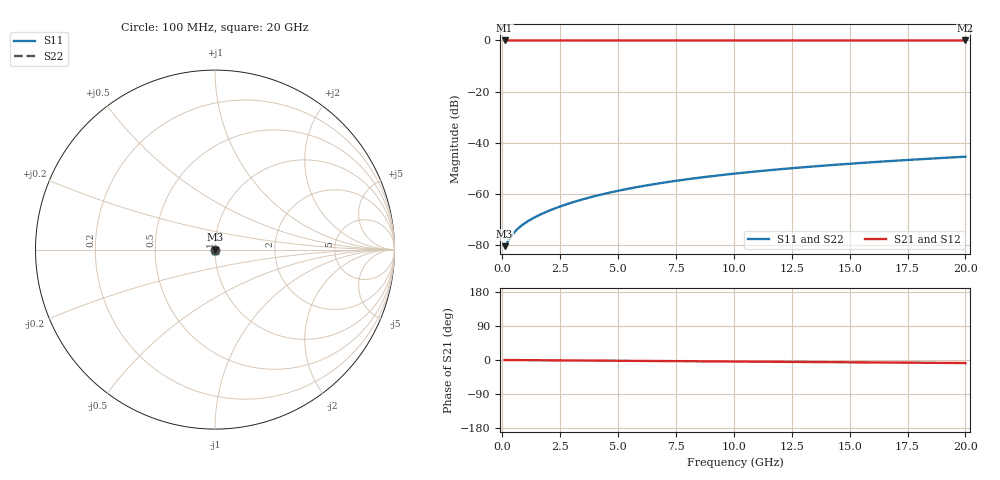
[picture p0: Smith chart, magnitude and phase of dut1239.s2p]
! Touchstone file exported from HFSS 2026.1.0
!  File:  C:/ffzhzh/LocalFiles/Ansys_Project_Files/temp_train_TSV_1239_1783193441_22436.aedt
!  Generated:  03:32:01 AM Jul  5, 2026
!  Design:  TSV
!  Project:  temp_train_TSV_1239_1783193441_22436
! Variables:
!  h_bsmrdl = 2um
!  h_ox = 20um
!  h_rdl = 5um
!  h_sub = 79.67um
!  h_tmrdl = 5um
!  h_tsv = 79.67um
!  h_via = 3um
!  l_bsmrdl = 300um
!  l_sub = 424.56um
!  l_tmrdl = 200um
!  m_sub = 200um
!  pitch = 47.37um
!  r_tsv = 12.28um
!  s_tmrdl = 10um
!  w_bsmrdl = 18um
!  w_sub = 500um
!  w_tmrdl = 12um
!  x_tsv_center1 = 206um
!  x_tsv_center2 = 524um
!  x_tsv_center3 = 736um
!  x_tsv_center4 = 1054um
!  x_tsv_center5 = 1266um
!  x_tsv_center6 = 1584um
# GHz S MA R 50.000000
! Terminal data exported
! Port[1] = TSV1_1_T1
! Port[2] = TSV1_1_T2
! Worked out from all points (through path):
!   200 points, 100 MHz to 20 GHz, reference 50 ohm
!   highest |S21| = 0.00 dB at 100 MHz (marker M1); lowest = 0.0 dB at 20 GHz (marker M2)
!   group delay of S21, straight-line fit = 1.11 ps
!   lowest |S11| = -80.4 dB at 100 MHz (marker M3), VSWR 1.00, Z = 50 + j0.00155 ohm
!   |S11| at or under -10 dB: start of sweep to end of sweep
!   |S22| runs from -80.4 to -45.4 dB; largest |S21 - S12| = 3.6e-15
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0.1  9.532e-05 9.4  0.9999 -0.0  0.9999 -0.0  9.532e-05 9.4
! Gamma 0 0 0 0
! Port Impedance 50 0 50 0
0.2  0.0001102 14.6  0.9999 -0.1  0.9999 -0.1  0.0001102 14.6
0.4  0.0001516 13.5  0.9999 -0.2  0.9999 -0.2  0.0001516 13.5
0.5  0.0001733 10.0  0.9998 -0.2  0.9998 -0.2  0.0001733 10.0
0.6  0.0001945 5.7  0.9998 -0.3  0.9998 -0.3  0.0001945 5.7
0.7  0.0002151 1.1  0.9998 -0.3  0.9998 -0.3  0.0002151 1.1
0.9  0.0002544 -7.7  0.9997 -0.4  0.9997 -0.4  0.0002544 -7.7
1.2  0.0003113 -19.0  0.9997 -0.5  0.9997 -0.5  0.0003113 -19.0
1.7  0.0004066 -32.7  0.9997 -0.7  0.9997 -0.7  0.0004066 -32.7
2.2  0.0005064 -42.0  0.9996 -0.9  0.9996 -0.9  0.0005064 -42.0
2.8  0.0006333 -49.4  0.9996 -1.1  0.9996 -1.1  0.0006334 -49.4
3.5  0.0007904 -55.3  0.9995 -1.4  0.9995 -1.4  0.0007904 -55.3
4.2  0.0009557 -59.5  0.9995 -1.7  0.9995 -1.7  0.0009557 -59.5
5  0.001153 -63.2  0.9994 -2.0  0.9994 -2.0  0.001153 -63.2
5.9  0.001383 -66.3  0.9994 -2.4  0.9994 -2.4  0.001383 -66.3
6.8  0.001619 -68.9  0.9993 -2.7  0.9993 -2.7  0.001619 -68.9
8.3  0.002022 -72.4  0.9993 -3.3  0.9993 -3.3  0.002022 -72.4
10.1  0.002515 -75.6  0.9992 -4.1  0.9992 -4.1  0.002515 -75.6
11.7  0.00296 -77.9  0.9991 -4.7  0.9991 -4.7  0.00296 -77.9
13.4  0.003438 -80.0  0.9991 -5.4  0.9991 -5.4  0.003438 -80.0
16.7  0.004381 -83.3  0.999 -6.7  0.999 -6.7  0.004382 -83.3
20  0.005352 -85.9  0.9989 -8.0  0.9989 -8.0  0.005352 -85.9
